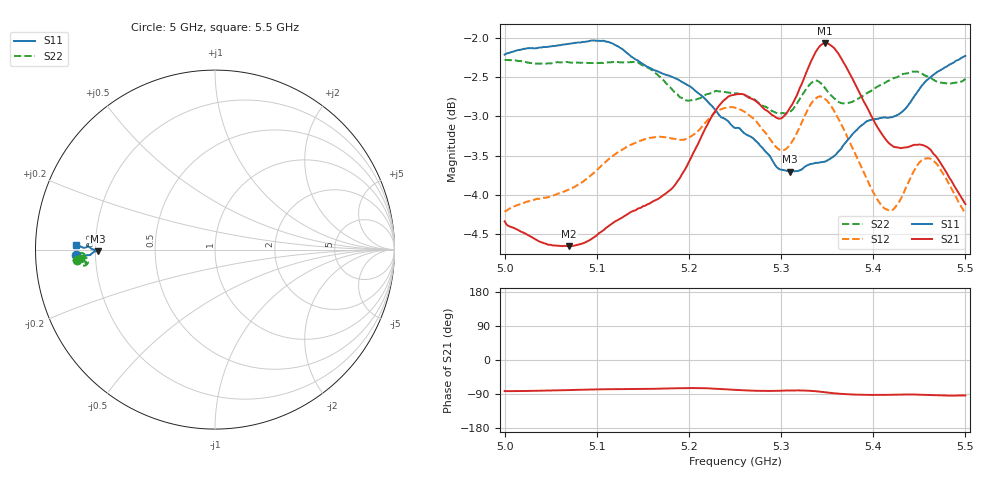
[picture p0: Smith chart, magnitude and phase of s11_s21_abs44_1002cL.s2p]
! MS46122B
! 1919307/90821646
! 5/25/2022 1:28:01 PM
! C:\USERS\PC_\DESKTOP\CARACTERIZACION\MEDICIONES\BANCHA ESTRECHA\5_55GHZ\S11_S21_ABS44_1002CL.S2P
! CHANNEL.1
! TR.MEASUREMENT
! CORRECTED.DATA
# GHZ S RI R 50.0
! FREQ.GHZ  S11RE  S11IM  S21RE  S21IM  S12RE  S12IM  S22RE  S22IM
!; PortSelection: Port_12
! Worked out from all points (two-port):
!   201 points, 5 GHz to 5.5 GHz, reference 50 ohm
!   highest |S21| = -2.07 dB at 5.348 GHz (marker M1); lowest = -4.7 dB at 5.07 GHz (marker M2)
!   |S21| within 3 dB of the highest: start of sweep to end of sweep
!   lowest |S11| = -3.7 dB at 5.31 GHz (marker M3), VSWR 4.76, Z = 10.5 - j0.362 ohm
!   |S11| at or under -10 dB: nowhere
!   |S22| runs from -3.0 to -2.3 dB; largest |S21 - S12| = 0.081
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5  -0.7742 -0.0291  0.0856 -0.601  0.144 -0.5986  -0.7664 -0.059
5.07  -0.7852 -0.0543  0.1086 -0.5752  0.153 -0.6173  -0.7642 -0.052
5.085  -0.787 -0.0583  0.1186 -0.5757  0.1561 -0.6241  -0.7642 -0.0444
5.115  -0.7857 -0.0629  0.1354 -0.5887  0.1569 -0.6476  -0.7654 -0.0314
5.1675  -0.7522 -0.0676  0.1548 -0.6083  0.1319 -0.6743  -0.7506 -0.0183
5.19  -0.7438 -0.0559  0.1748 -0.6224  0.1256 -0.6724  -0.7275 -0.0259
5.215  -0.7276 -0.0365  0.186 -0.6645  0.1294 -0.6863  -0.7271 -0.051
5.25  -0.6952 -0.0303  0.1424 -0.7167  0.0918 -0.7109  -0.7307 -0.0461
5.2825  -0.6727 -0.0118  0.1044 -0.7071  0.059 -0.6891  -0.7166 -0.0458
5.3  -0.6545 -0.0113  0.1108 -0.6968  0.0688 -0.6699  -0.7083 -0.0628
5.31  -0.6528 -0.00989  0.1208 -0.707  0.0823 -0.6743  -0.7088 -0.0753
5.3225  -0.6549 -0.00899  0.1235 -0.732  0.0878 -0.6962  -0.7244 -0.0886
5.335  -0.6605 -0.00307  0.1089 -0.7647  0.0701 -0.7208  -0.7403 -0.082
5.3475  -0.6624 7.34e-05  0.0674 -0.7852  0.0361 -0.7253  -0.7349 -0.0671
5.365  -0.6749 0.000751  0.00866 -0.7709  -0.000826 -0.7001  -0.7185 -0.0693
5.3775  -0.6896 0.0056  -0.0144 -0.7477  -0.0104 -0.6755  -0.7192 -0.0747
5.4  -0.7043 0.0202  -0.0268 -0.7042  -0.0022 -0.6335  -0.7334 -0.0707
5.4175  -0.7061 0.0238  -0.0214 -0.6798  0.026 -0.6161  -0.7436 -0.0587
5.44  -0.722 0.0113  -0.0117 -0.6773  0.0556 -0.6436  -0.7535 -0.0441
5.46  -0.7475 0.0154  -0.0293 -0.6751  0.0295 -0.6652  -0.7496 -0.0315
5.48  -0.7612 0.0219  -0.0441 -0.6497  0.00048 -0.6447  -0.7418 -0.0388
5.5  -0.7729 0.0244  -0.0383 -0.6214  0.00364 -0.6138  -0.7464 -0.046
